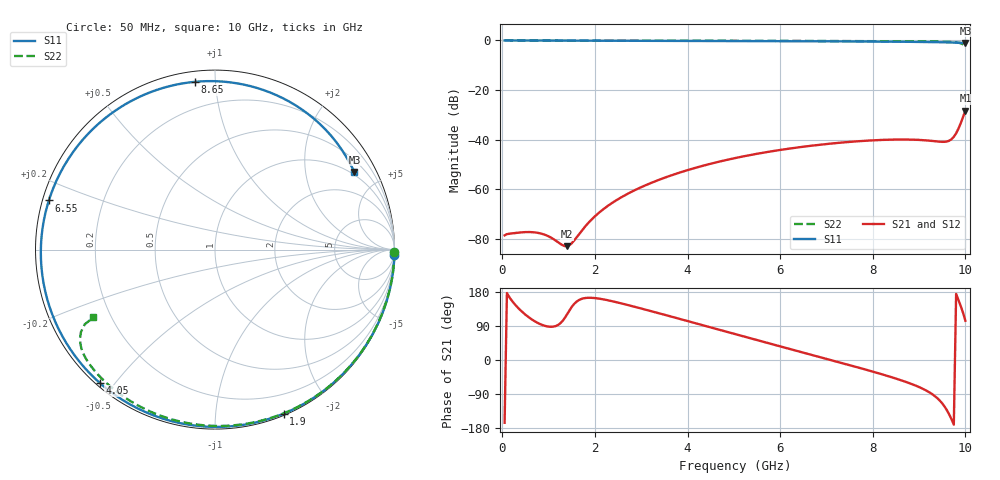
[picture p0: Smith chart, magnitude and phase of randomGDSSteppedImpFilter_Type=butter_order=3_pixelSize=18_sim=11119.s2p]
! freq	dB(S11)	phase(S11)	dB(S12)	phase(S12)
!  dB(S21)	phase(S21)	dB(S22)	phase(S22)
!S-par simulation data
#  GHz  S  DB  R 50
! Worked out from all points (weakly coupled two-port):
!   200 points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, 50 MHz to 10 GHz, reference 50 ohm
!   highest |S21| = -28.30 dB at 10 GHz (marker M1); lowest = -82.9 dB at 1.4 GHz (marker M2)
!   lowest |S11| = -1.0 dB at 10 GHz (marker M3), VSWR 17.10, Z = 44 + j182 ohm
!   |S11| at or under -10 dB: nowhere
!   |S22| runs from -2.2 to 0.0 dB; largest |S21 - S12| = 0
!   S11 on the Smith chart (normalised r, x): 50 MHz: 0, -62; 1.9 GHz: 0.02, -1.50; 4.05 GHz: 0.01, -0.46; 6.55 GHz: 0.02, +0.14; 8.65 GHz: 0.05, +0.88; 10 GHz: 0.88, +3.65
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0.05  -0.00 -1.9  -78.57 -165.7  -78.57 -165.7  -0.00 -0.8
0.65  -0.02 -23.9  -77.28 106.0  -77.28 106.0  -0.01 -10.6
1.1  -0.05 -40.0  -80.00 88.0  -80.00 88.0  -0.02 -17.8
1.4  -0.06 -50.5  -82.92 120.8  -82.92 120.8  -0.03 -22.6
1.6  -0.07 -57.3  -79.48 153.7  -79.48 153.7  -0.03 -25.8
1.75  -0.08 -62.3  -75.85 162.6  -75.85 162.6  -0.04 -28.1
1.9  -0.08 -67.3  -72.70 164.3  -72.70 164.3  -0.04 -30.5
2.5  -0.10 -86.4  -63.99 151.5  -63.99 151.5  -0.05 -39.9
3.4  -0.13 -113.0  -56.05 122.8  -56.05 122.8  -0.07 -53.5
4.05  -0.16 -130.9  -51.99 101.2  -51.99 101.2  -0.09 -63.1
5.05  -0.21 -157.2  -47.32 67.6  -47.32 67.6  -0.12 -77.4
5.8  -0.25 -176.6  -44.72 42.6  -44.72 42.6  -0.15 -87.8
6.55  -0.31 163.5  -42.72 17.9  -42.72 17.9  -0.18 -97.9
6.7  -0.32 159.4  -42.38 13.0  -42.38 13.0  -0.19 -99.9
7.55  -0.39 134.8  -40.81 -15.2  -40.81 -15.2  -0.25 -111.0
8.35  -0.48 108.2  -40.00 -43.3  -40.00 -43.3  -0.31 -121.5
8.65  -0.52 96.9  -39.92 -55.1  -39.92 -55.1  -0.34 -125.5
9.2  -0.64 73.3  -40.35 -83.7  -40.35 -83.7  -0.41 -133.3
9.65  -0.80 50.1  -40.42 -143.6  -40.42 -143.6  -0.57 -141.2
9.8  -0.89 41.3  -37.41 174.3  -37.41 174.3  -0.77 -145.1
9.9  -0.96 35.3  -33.31 142.3  -33.31 142.3  -1.15 -148.5
10  -1.02 29.1  -28.30 103.5  -28.30 103.5  -2.21 -150.8
